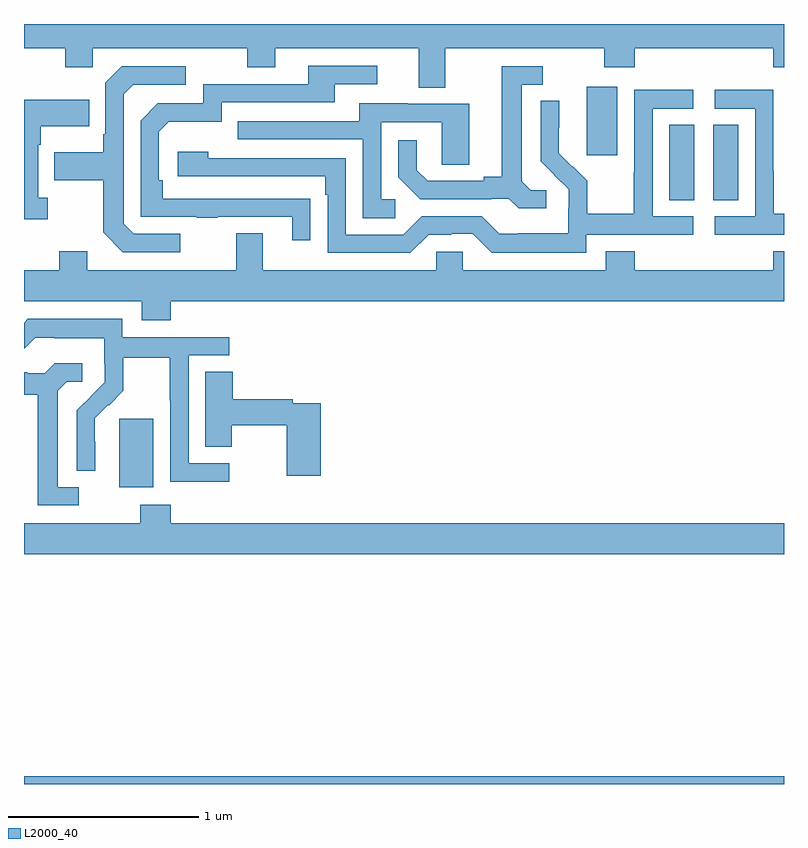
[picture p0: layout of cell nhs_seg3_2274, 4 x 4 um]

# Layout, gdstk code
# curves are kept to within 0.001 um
import gdstk
lib = gdstk.Library(unit=1e-6, precision=1e-09)
def R(c, l, rs):  # rectangles x0, y0, x1, y1
    for r in rs: c.add(gdstk.rectangle(r[:2], r[2:], *l))
def P(c, l, *ps):  # polygons
    for p in ps: c.add(gdstk.Polygon(p, *l))
L2000_40 = (2000, 40)

nhs_seg3_2274 = lib.new_cell('nhs_seg3_2274')
R(nhs_seg3_2274, L2000_40, [(229,674.4,233,674.44), (229.502,675.962,229.681,676.323), (232.397,677.473,232.528,677.87), (232.628,677.473,232.759,677.87), (231.962,677.709,232.123,678.07)])
P(nhs_seg3_2274, L2000_40, [(231.217,678.272),(232.054,678.272),(232.054,678.173),(232.214,678.173),(232.214,678.272),(232.943,678.272),(232.943,678.173),(233,678.173),(233,678.4),(229,678.4),(229,678.272),(229.216,678.272),(229.216,678.173),(229.362,678.173),(229.362,678.272),(230.176,678.272),(230.176,678.173),(230.323,678.173),(230.323,678.272),(231.077,678.272),(231.077,678.064),(231.217,678.064)],
  [(230.507,677.48),(229.73,677.481),(229.73,677.578),(229.71,677.578),(229.71,677.832),(229.763,677.885),(230.04,677.885),(230.04,677.988),(230.635,677.988),(230.635,678.084),(230.86,678.084),(230.86,678.18),(230.495,678.18),(230.495,678.084),(229.944,678.084),(229.944,677.982),(229.704,677.982),(229.614,677.892),(229.614,677.385),(229.909,677.385),(229.909,677.38),(230.021,677.38),(230.021,677.385),(230.411,677.385),(230.411,677.262),(230.507,677.262)],
  [(229.822,677.295),(229.578,677.295),(229.524,677.349),(229.524,678.03),(229.575,678.081),(229.852,678.081),(229.852,678.177),(229.515,678.177),(229.428,678.09),(229.428,677.821),(229.416,677.821),(229.416,677.725),(229.159,677.725),(229.159,677.578),(229.416,677.578),(229.416,677.305),(229.521,677.199),(229.822,677.199)],
  [(231.748,677.526),(231.666,677.526),(231.619,677.573),(231.619,678.081),(231.73,678.081),(231.73,678.177),(231.515,678.177),(231.515,677.597),(231.419,677.597),(231.419,677.574),(231.124,677.574),(231.067,677.631),(231.067,677.788),(230.97,677.788),(230.97,677.594),(231.086,677.478),(231.458,677.478),(231.458,677.481),(231.552,677.481),(231.604,677.429),(231.748,677.429)],
  [(231.96,677.292),(232.522,677.292),(232.522,677.388),(232.308,677.388),(232.308,677.955),(232.522,677.955),(232.522,678.054),(232.212,678.054),(232.212,677.621),(232.21,677.621),(232.21,677.401),(231.965,677.401),(231.965,677.575),(231.888,677.652),(231.885,677.649),(231.815,677.72),(231.815,677.855),(231.817,677.855),(231.817,677.996),(231.72,677.996),(231.72,677.678),(231.866,677.53),(231.866,677.433),(231.864,677.433),(231.864,677.299),(231.601,677.299),(231.601,677.295),(231.501,677.295),(231.408,677.388),(231.093,677.388),(230.997,677.292),(230.694,677.292),(230.694,677.694),(229.97,677.694),(229.97,677.728),(229.809,677.728),(229.809,677.598),(230.585,677.598),(230.585,677.501),(230.598,677.501),(230.598,677.196),(231.033,677.196),(231.129,677.292),(231.248,677.292),(231.248,677.295),(231.363,677.295),(231.463,677.195),(231.96,677.195)],
  [(233,677.401),(232.947,677.401),(232.947,677.624),(232.944,677.624),(232.944,678.054),(232.635,678.054),(232.635,677.955),(232.848,677.955),(232.848,677.388),(232.635,677.388),(232.635,677.292),(233,677.292)],
  [(229.126,677.486),(229.074,677.486),(229.074,677.765),(229.087,677.765),(229.087,677.861),(229.343,677.861),(229.343,678.001),(229,678.001),(229,677.373),(229.126,677.373)],
  [(230.953,677.478),(230.88,677.478),(230.88,677.883),(231.198,677.883),(231.198,677.659),(231.343,677.659),(231.343,677.979),(231.019,677.979),(231.019,677.983),(230.765,677.983),(230.765,677.889),(230.125,677.889),(230.125,677.793),(230.784,677.793),(230.784,677.377),(230.953,677.377)],
  [(229.772,676.94),(233,676.94),(233,677.203),(232.943,677.203),(232.943,677.104),(232.214,677.104),(232.214,677.203),(232.061,677.203),(232.061,677.104),(231.309,677.104),(231.309,677.202),(231.171,677.202),(231.171,677.104),(230.257,677.104),(230.257,677.299),(230.117,677.299),(230.117,677.104),(229.333,677.104),(229.333,677.203),(229.186,677.203),(229.186,677.104),(229,677.104),(229,676.94),(229.619,676.94),(229.619,676.841),(229.772,676.841)],
  [(230.08,676.089),(229.866,676.089),(229.866,676.656),(230.08,676.656),(230.08,676.752),(229.518,676.752),(229.518,676.849),(229.021,676.849),(229,676.828),(229,676.69),(229.059,676.749),(229.159,676.749),(229.159,676.745),(229.422,676.745),(229.422,676.611),(229.424,676.611),(229.424,676.514),(229.278,676.366),(229.278,676.048),(229.374,676.048),(229.373,676.325),(229.443,676.395),(229.446,676.392),(229.523,676.469),(229.523,676.644),(229.768,676.644),(229.768,676.42),(229.77,676.42),(229.77,675.991),(230.08,675.991)],
  [(229.288,675.963),(229.177,675.963),(229.177,676.471),(229.224,676.518),(229.306,676.518),(229.306,676.615),(229.162,676.615),(229.11,676.563),(229.016,676.563),(229.016,676.566),(229,676.566),(229,676.448),(229.073,676.448),(229.073,675.867),(229.288,675.867)],
  [(230.561,676.404),(230.414,676.404),(230.414,676.424),(230.099,676.424),(230.099,676.571),(229.955,676.571),(229.955,676.174),(230.094,676.174),(230.094,676.288),(230.383,676.288),(230.383,676.023),(230.561,676.023)],
  [(233,675.772),(229.772,675.772),(229.772,675.871),(229.612,675.871),(229.612,675.772),(229,675.772),(229,675.608),(233,675.608)])

lib.write_gds('nhs_seg3_2274.gds')
